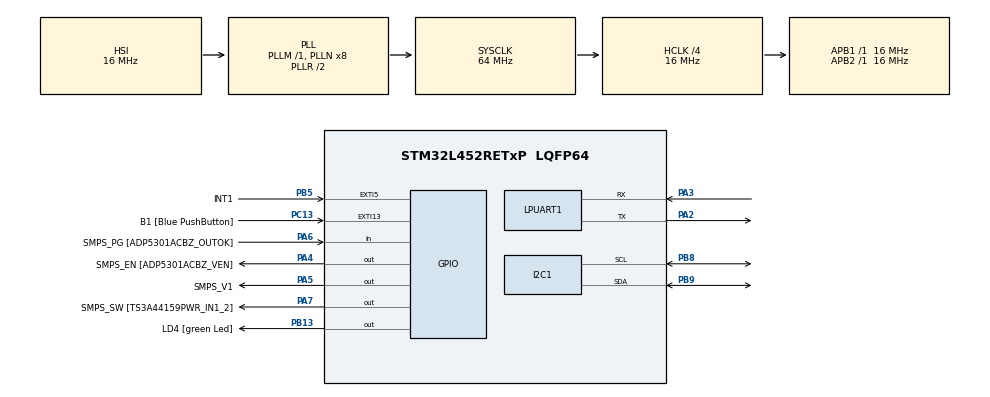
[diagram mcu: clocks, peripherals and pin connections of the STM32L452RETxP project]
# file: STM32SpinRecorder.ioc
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FREERTOS.HEAP_NUMBER=4
FREERTOS.Tasks01=defaultTask,0,128,StartDefaultTask,Default,NULL,Dynamic,NULL,NULL
I2C1.Timing=0x00303D5B
LPUART1.WordLength=UART_WORDLENGTH_8B
Mcu.Family=STM32L4
Mcu.Name=STM32L452RETxP
Mcu.Package=LQFP64
NVIC.PriorityGroup=NVIC_PRIORITYGROUP_4
NVIC.TIM1_UP_TIM16_IRQn=true\:15\:0\:false\:false\:true\:false\:false\:true\:true
NVIC.TimeBase=TIM1_UP_TIM16_IRQn
NVIC.TimeBaseIP=TIM16
PA13\ (JTMS/SWDIO).GPIO_Label=TMS
PA13\ (JTMS/SWDIO).Mode=Serial_Wire
PA13\ (JTMS/SWDIO).Signal=SYS_JTMS-SWDIO
PA14\ (JTCK/SWCLK).GPIO_Label=TCK
PA14\ (JTCK/SWCLK).Mode=Serial_Wire
PA14\ (JTCK/SWCLK).Signal=SYS_JTCK-SWCLK
PA2.Mode=Asynchronous
PA2.Signal=LPUART1_TX
PA3.Mode=Asynchronous
PA3.Signal=LPUART1_RX
PA4.GPIO_Label=SMPS_EN [ADP5301ACBZ_VEN]
PA4.Signal=GPIO_Output
PA5.GPIO_Label=SMPS_V1
PA5.GPIO_ModeDefaultOutputPP=GPIO_MODE_OUTPUT_PP
PA5.GPIO_PuPd=GPIO_NOPULL
PA5.GPIO_Speed=GPIO_SPEED_FREQ_LOW
PA5.Signal=GPIO_Output
PA6.GPIO_Label=SMPS_PG [ADP5301ACBZ_OUTOK]
PA6.GPIO_PuPd=GPIO_PULLUP
PA6.Signal=GPIO_Input
PA7.GPIO_Label=SMPS_SW [TS3A44159PWR_IN1_2]
PA7.Signal=GPIO_Output
PB13.GPIO_Label=LD4 [green Led]
PB13.Signal=GPIO_Output
PB3\ (JTDO/TRACESWO).GPIO_Label=SWO
PB3\ (JTDO/TRACESWO).Signal=SYS_JTDO-SWO
PB5.GPIO_Label=INT1
PB5.Signal=GPXTI5
PB8.Mode=I2C
PB8.Signal=I2C1_SCL
PB9.Mode=I2C
PB9.Signal=I2C1_SDA
PC13.GPIO_Label=B1 [Blue PushButton]
PC13.GPIO_ModeDefaultEXTI=GPIO_MODE_IT_FALLING
PC13.GPIO_PuPd=GPIO_NOPULL
PC13.Signal=GPXTI13
ProjectManager.HeapSize=0x200
ProjectManager.StackSize=0x400
ProjectManager.TargetToolchain=MDK-ARM V5.32
RCC.ADCFreq_Value=64000000
RCC.AHBCLKDivider=RCC_SYSCLK_DIV4
RCC.AHBFreq_Value=16000000
RCC.APB1Freq_Value=16000000
RCC.APB1TimFreq_Value=16000000
RCC.APB2Freq_Value=16000000
RCC.APB2TimFreq_Value=16000000
RCC.CortexFreq_Value=16000000
RCC.HCLKFreq_Value=16000000
RCC.HSE_VALUE=8000000
RCC.HSI48_VALUE=48000000
RCC.HSI_VALUE=16000000
RCC.LSE_VALUE=32768
RCC.MSI_VALUE=4000000
RCC.PLLSourceVirtual=RCC_PLLSOURCE_HSI
RCC.PREFETCH_ENABLE=1
RCC.SYSCLKFreq_VALUE=64000000
RCC.SYSCLKSource=RCC_SYSCLKSOURCE_PLLCLK
RCC.USBFreq_Value=64000000
RCC.VCOOutputFreq_Value=128000000
VP_FREERTOS_VS_CMSIS_V1.Mode=CMSIS_V1
VP_SYS_VS_tim16.Mode=TIM16
board=NUCLEO-L452RE-P

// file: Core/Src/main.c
/* USER CODE BEGIN Header */
/**
  ******************************************************************************
  * @file           : main.c
  * @brief          : Main program body
  ******************************************************************************
  * @attention
  *
  * Copyright (c) 2025 STMicroelectronics.
  * All rights reserved.
  *
  * This software is licensed under terms that can be found in the LICENSE file
  * in the root directory of this software component.
  * If no LICENSE file comes with this software, it is provided AS-IS.
  *
  ******************************************************************************
  */
/* USER CODE END Header */
#include "main.h"
#include "cmsis_os.h"

/* USER CODE BEGIN Includes */
#include "lsm6dso.h"
#include "stdlib.h"
#include "dyn_strings.h"
/* USER CODE END Includes */

I2C_HandleTypeDef hi2c1;

UART_HandleTypeDef hlpuart1;

osThreadId defaultTaskHandle;
/* USER CODE BEGIN PV */
xQueueHandle xUartSendQueue;

typedef struct
{
	uint8_t *data;
	uint32_t size;
} SendBuff;
/* USER CODE END PV */

void SystemClock_Config(void);
static void MX_GPIO_Init(void);
static void MX_LPUART1_UART_Init(void);
static void MX_I2C1_Init(void);
void StartDefaultTask(void const * argument);

/* USER CODE BEGIN PFP */
extern int32_t LSM6DSO_Bus_Init(void);
extern int32_t LSM6DSO_Bus_DeInit(void);
extern int32_t LSM6DSO_Bus_GetTick(void);
extern void  LSM6DSO_Bus_Delay(uint32_t ms);
extern int32_t LSM6DSO_Bus_WriteReg(uint16_t addrDev, uint16_t addrReg, uint8_t *data, uint16_t len);
extern int32_t LSM6DSO_Bus_ReadReg(uint16_t addrDev, uint16_t addrReg, uint8_t *data, uint16_t len);

uint32_t SendToUartQueue(uint8_t *buff, uint32_t size);
uint32_t SendStrToUartQueue(char *str);
uint32_t uart_send(uint8_t *buff, uint32_t size);

/* USER CODE END PFP */

/* USER CODE BEGIN 0 */
void* pvGetBuffer(size_t size)
{
	return pvPortMalloc(size);
}

void pvReleaseBuffer(void *pv)
{
	vPortFree(pv);
}

void vTask1(void *param)
{
	char *str;
	LSM6DSO_IO_t bus;
	bus.BusType = 0;
	bus.Address = 0xD6;
	bus.Init = LSM6DSO_Bus_Init;
	bus.DeInit = LSM6DSO_Bus_DeInit;
	bus.WriteReg = LSM6DSO_Bus_WriteReg;
	bus.ReadReg = LSM6DSO_Bus_ReadReg;

	LSM6DSO_Object_t accGyro;
	LSM6DSO_RegisterBusIO(&accGyro, &bus);
	LSM6DSO_Init(&accGyro);

	uint8_t id;
	LSM6DSO_ReadID(&accGyro, &id);
	if(id != LSM6DSO_ID)
	{
		str = malloc_string("LSM6DSO INVALID ID\r\n");
	}
	else
	{
		str = malloc_string("LSM6DSO init OK\r\n");
	}
	SendStrToUartQueue(str);

	LSM6DSO_ACC_Enable(&accGyro);
	LSM6DSO_ACC_SetOutputDataRate(&accGyro, 104.0f);
	LSM6DSO_GYRO_Enable(&accGyro);
	LSM6DSO_GYRO_SetOutputDataRate(&accGyro, 104.0f);

	uint8_t *data;
	uint16_t samples;
	lsm6dso_fifo_status2_t fifo_status;

	LSM6DSO_FIFO_ACC_Set_BDR(&accGyro, 104.0f);
	LSM6DSO_FIFO_GYRO_Set_BDR(&accGyro, 104.0f);
	LSM6DSO_FIFO_Set_Watermark_Level(&accGyro, 10);
	LSM6DSO_FIFO_Set_Stop_On_Fth(&accGyro, 1);

	str = malloc_string("FIFO init OK\r\n");
	SendStrToUartQueue(str);

	//uint32_t i = 0;
	for(;;)
	{
		//str = malloc_stringf("Task %s String #%d\r\n", (char*)param, i++);
		//SendStrToUartQueue(str);

		LSM6DSO_FIFO_Set_Mode(&accGyro, LSM6DSO_FIFO_MODE);

		// ... wait data ...
		uint32_t tick = HAL_GetTick();
		do
		{
			if(HAL_GetTick() - tick > 5000)
				break;
			LSM6DSO_Read_Reg(&accGyro, LSM6DSO_FIFO_STATUS2, (uint8_t*)&fifo_status);
		} while (fifo_status.fifo_wtm_ia == 0 && fifo_status.fifo_full_ia == 0);

		// ... print status ...
		str = malloc_stringf("FIFO_STATUS2: WTM_IA(%d) OVR_IA(%d) FULL_IA(%d) CNTR_BDR_IA(%d) OVR_LATCH(%d) NULL(%d) DIFF98(%d)\r\n",
								fifo_status.fifo_wtm_ia, fifo_status.fifo_ovr_ia, fifo_status.fifo_full_ia,
								fifo_status.counter_bdr_ia, fifo_status.over_run_latched, fifo_status.not_used_01,
								fifo_status.diff_fifo);
		SendStrToUartQueue(str);

		LSM6DSO_FIFO_Get_Num_Samples(&accGyro, &samples);
		if(samples != 0)
		{
			data = pvGetBuffer(samples*7);
			LSM6DSO_Bus_ReadReg(accGyro.IO.Address, LSM6DSO_FIFO_DATA_OUT_TAG, data, samples*7);
			// ... print data ...
			SendToUartQueue(data, samples*7);
		}
		else
		{
			str = malloc_string("FIFO is empty!\r\n");
			SendStrToUartQueue(str);
		}

		LSM6DSO_FIFO_Set_Mode(&accGyro, LSM6DSO_BYPASS_MODE);

		vTaskDelay(1000 / portTICK_RATE_MS);
	}

	vTaskDelete(NULL);
}

void vUartSenderTask(void *param)
{
	portBASE_TYPE xStatus;
	SendBuff send;
	for(;;)
	{
		xStatus = xQueueReceive(xUartSendQueue, &send, portMAX_DELAY);
		(void)uart_send(send.data, send.size);
		pvReleaseBuffer(send.data);
	}
	vTaskDelete(NULL);
}

uint32_t uart_send(uint8_t *buff, uint32_t size)
{
	return HAL_UART_Transmit(&hlpuart1, buff, size, 100);
}

uint32_t SendStrToUartQueue(char *str)
{
	return SendToUartQueue((uint8_t*)str, strlen(str));
}

uint32_t SendToUartQueue(uint8_t *buff, uint32_t size)
{
	portBASE_TYPE xStatus;
	if(buff == NULL)
		return pdFALSE;
	SendBuff send = {buff, size};
	xStatus = xQueueSendToBack(xUartSendQueue, &send, 10 / portTICK_RATE_MS);
	if(xStatus == pdFALSE)
		pvReleaseBuffer(buff);
	return xStatus;
}

/* USER CODE END 0 */

int main(void)
{

  /* MCU Configuration--------------------------------------------------------*/

  /* Reset of all peripherals, Initializes the Flash interface and the Systick. */
  HAL_Init();

  /* Configure the system clock */
  SystemClock_Config();

  /* Initialize all configured peripherals */
  MX_GPIO_Init();
  MX_LPUART1_UART_Init();
  MX_I2C1_Init();

  /* USER CODE BEGIN RTOS_QUEUES */
  char *str;
  xUartSendQueue = xQueueCreate(5, sizeof(SendBuff));
  if(xUartSendQueue == NULL)
  {
	  str = "xUartQueue = NULL\r\n";
	  uart_send((uint8_t*)str, sizeof(str)-1);
  }
  else
  {
  /* USER CODE END RTOS_QUEUES */

  /* Create the thread(s) */
  /* definition and creation of defaultTask */
  osThreadDef(defaultTask, StartDefaultTask, osPriorityNormal, 0, 128);
  defaultTaskHandle = osThreadCreate(osThread(defaultTask), NULL);

  /* USER CODE BEGIN RTOS_THREADS */
	xTaskCreate(vTask1, "Task1", configMINIMAL_STACK_SIZE, "1", 1, NULL);
	//xTaskCreate(vTask1, "Task2", configMINIMAL_STACK_SIZE, "2", 1, NULL);
	xTaskCreate(vUartSenderTask, "UartSenderTask", configMINIMAL_STACK_SIZE, NULL, 1, NULL);
  /* USER CODE END RTOS_THREADS */

  /* Start scheduler */
  osKernelStart();

  /* We should never get here as control is now taken by the scheduler */

  /* Infinite loop */
  /* USER CODE BEGIN WHILE */
  }
  str = "Sheduler start fail\r\n";
  uart_send((uint8_t*)str, sizeof(str)-1);
  while (1)
  {
    /* USER CODE END WHILE */

  }
}

void SystemClock_Config(void)
{
  RCC_OscInitTypeDef RCC_OscInitStruct = {0};
  RCC_ClkInitTypeDef RCC_ClkInitStruct = {0};

  /** Configure the main internal regulator output voltage
  */
  if (HAL_PWREx_ControlVoltageScaling(PWR_REGULATOR_VOLTAGE_SCALE1) != HAL_OK)
  {
    Error_Handler();
  }

  /** Initializes the RCC Oscillators according to the specified parameters
  * in the RCC_OscInitTypeDef structure.
  */
  RCC_OscInitStruct.OscillatorType = RCC_OSCILLATORTYPE_HSI;
  RCC_OscInitStruct.HSIState = RCC_HSI_ON;
  RCC_OscInitStruct.HSICalibrationValue = 64;
  RCC_OscInitStruct.PLL.PLLState = RCC_PLL_ON;
  RCC_OscInitStruct.PLL.PLLSource = RCC_PLLSOURCE_HSI;
  RCC_OscInitStruct.PLL.PLLM = 1;
  RCC_OscInitStruct.PLL.PLLN = 8;
  RCC_OscInitStruct.PLL.PLLP = RCC_PLLP_DIV7;
  RCC_OscInitStruct.PLL.PLLQ = RCC_PLLQ_DIV2;
  RCC_OscInitStruct.PLL.PLLR = RCC_PLLR_DIV2;
  if (HAL_RCC_OscConfig(&RCC_OscInitStruct) != HAL_OK)
  {
    Error_Handler();
  }

  /** Initializes the CPU, AHB and APB buses clocks
  */
  RCC_ClkInitStruct.ClockType = RCC_CLOCKTYPE_HCLK|RCC_CLOCKTYPE_SYSCLK
                              |RCC_CLOCKTYPE_PCLK1|RCC_CLOCKTYPE_PCLK2;
  RCC_ClkInitStruct.SYSCLKSource = RCC_SYSCLKSOURCE_PLLCLK;
  RCC_ClkInitStruct.AHBCLKDivider = RCC_SYSCLK_DIV4;
  RCC_ClkInitStruct.APB1CLKDivider = RCC_HCLK_DIV1;
  RCC_ClkInitStruct.APB2CLKDivider = RCC_HCLK_DIV1;

  if (HAL_RCC_ClockConfig(&RCC_ClkInitStruct, FLASH_LATENCY_0) != HAL_OK)
  {
    Error_Handler();
  }
}

static void MX_I2C1_Init(void)
{

  hi2c1.Instance = I2C1;
  hi2c1.Init.Timing = 0x00303D5B;
  hi2c1.Init.OwnAddress1 = 0;
  hi2c1.Init.AddressingMode = I2C_ADDRESSINGMODE_7BIT;
  hi2c1.Init.DualAddressMode = I2C_DUALADDRESS_DISABLE;
  hi2c1.Init.OwnAddress2 = 0;
  hi2c1.Init.OwnAddress2Masks = I2C_OA2_NOMASK;
  hi2c1.Init.GeneralCallMode = I2C_GENERALCALL_DISABLE;
  hi2c1.Init.NoStretchMode = I2C_NOSTRETCH_DISABLE;
  if (HAL_I2C_Init(&hi2c1) != HAL_OK)
  {
    Error_Handler();
  }

  /** Configure Analogue filter
  */
  if (HAL_I2CEx_ConfigAnalogFilter(&hi2c1, I2C_ANALOGFILTER_ENABLE) != HAL_OK)
  {
    Error_Handler();
  }

  /** Configure Digital filter
  */
  if (HAL_I2CEx_ConfigDigitalFilter(&hi2c1, 0) != HAL_OK)
  {
    Error_Handler();
  }

}

static void MX_LPUART1_UART_Init(void)
{

  hlpuart1.Instance = LPUART1;
  hlpuart1.Init.BaudRate = 209700;
  hlpuart1.Init.WordLength = UART_WORDLENGTH_8B;
  hlpuart1.Init.StopBits = UART_STOPBITS_1;
  hlpuart1.Init.Parity = UART_PARITY_NONE;
  hlpuart1.Init.Mode = UART_MODE_TX_RX;
  hlpuart1.Init.HwFlowCtl = UART_HWCONTROL_NONE;
  hlpuart1.Init.OneBitSampling = UART_ONE_BIT_SAMPLE_DISABLE;
  hlpuart1.AdvancedInit.AdvFeatureInit = UART_ADVFEATURE_NO_INIT;
  if (HAL_UART_Init(&hlpuart1) != HAL_OK)
  {
    Error_Handler();
  }

}

static void MX_GPIO_Init(void)
{
  GPIO_InitTypeDef GPIO_InitStruct = {0};

  /* GPIO Ports Clock Enable */
  __HAL_RCC_GPIOC_CLK_ENABLE();
  __HAL_RCC_GPIOA_CLK_ENABLE();
  __HAL_RCC_GPIOB_CLK_ENABLE();

  /*Configure GPIO pin Output Level */
  HAL_GPIO_WritePin(GPIOA, SMPS_EN_Pin|SMPS_V1_Pin|SMPS_SW_Pin, GPIO_PIN_RESET);

  /*Configure GPIO pin Output Level */
  HAL_GPIO_WritePin(LD4_GPIO_Port, LD4_Pin, GPIO_PIN_RESET);

  /*Configure GPIO pin : B1_Pin */
  GPIO_InitStruct.Pin = B1_Pin;
  GPIO_InitStruct.Mode = GPIO_MODE_IT_FALLING;
  GPIO_InitStruct.Pull = GPIO_NOPULL;
  HAL_GPIO_Init(B1_GPIO_Port, &GPIO_InitStruct);

  /*Configure GPIO pins : SMPS_EN_Pin SMPS_V1_Pin SMPS_SW_Pin */
  GPIO_InitStruct.Pin = SMPS_EN_Pin|SMPS_V1_Pin|SMPS_SW_Pin;
  GPIO_InitStruct.Mode = GPIO_MODE_OUTPUT_PP;
  GPIO_InitStruct.Pull = GPIO_NOPULL;
  GPIO_InitStruct.Speed = GPIO_SPEED_FREQ_LOW;
  HAL_GPIO_Init(GPIOA, &GPIO_InitStruct);

  /*Configure GPIO pin : SMPS_PG_Pin */
  GPIO_InitStruct.Pin = SMPS_PG_Pin;
  GPIO_InitStruct.Mode = GPIO_MODE_INPUT;
  GPIO_InitStruct.Pull = GPIO_PULLUP;
  HAL_GPIO_Init(SMPS_PG_GPIO_Port, &GPIO_InitStruct);

  /*Configure GPIO pin : LD4_Pin */
  GPIO_InitStruct.Pin = LD4_Pin;
  GPIO_InitStruct.Mode = GPIO_MODE_OUTPUT_PP;
  GPIO_InitStruct.Pull = GPIO_NOPULL;
  GPIO_InitStruct.Speed = GPIO_SPEED_FREQ_LOW;
  HAL_GPIO_Init(LD4_GPIO_Port, &GPIO_InitStruct);

  /*Configure GPIO pin : INT1_Pin */
  GPIO_InitStruct.Pin = INT1_Pin;
  GPIO_InitStruct.Mode = GPIO_MODE_IT_RISING;
  GPIO_InitStruct.Pull = GPIO_NOPULL;
  HAL_GPIO_Init(INT1_GPIO_Port, &GPIO_InitStruct);

}

void StartDefaultTask(void const * argument)
{
  for(;;)
  {
    osDelay(1);
  }
}

void HAL_TIM_PeriodElapsedCallback(TIM_HandleTypeDef *htim)
{
  if (htim->Instance == TIM16) {
    HAL_IncTick();
  }
}

void Error_Handler(void)
{
  __disable_irq();
  while (1)
  {
  }
}
